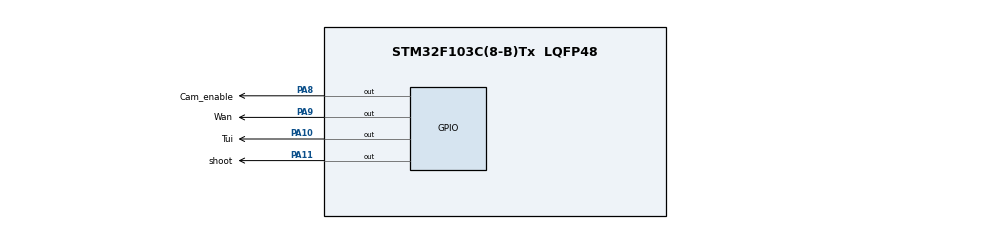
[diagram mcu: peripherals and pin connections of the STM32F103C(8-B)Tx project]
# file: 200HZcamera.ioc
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Mcu.Family=STM32F1
Mcu.Name=STM32F103C(8-B)Tx
Mcu.Package=LQFP48
NVIC.PriorityGroup=NVIC_PRIORITYGROUP_4
PA10.GPIO_Label=Tui
PA10.Signal=GPIO_Output
PA11.GPIO_Label=shoot
PA11.Signal=GPIO_Output
PA8.GPIO_Label=Cam_enable
PA8.Signal=GPIO_Output
PA9.GPIO_Label=Wan
PA9.Signal=GPIO_Output
ProjectManager.HeapSize=0x200
ProjectManager.StackSize=0x400
ProjectManager.TargetToolchain=Makefile
RCC.APB1Freq_Value=8000000
RCC.APB2Freq_Value=8000000
VP_SYS_VS_ND.Mode=No_Debug
board=custom

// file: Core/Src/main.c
/* USER CODE BEGIN Header */
/**
 ******************************************************************************
 * @file           : main.c
 * @brief          : Main program body
 ******************************************************************************
 * @attention
 *
 * Copyright (c) 2025 STMicroelectronics.
 * All rights reserved.
 *
 * This software is licensed under terms that can be found in the LICENSE file
 * in the root directory of this software component.
 * If no LICENSE file comes with this software, it is provided AS-IS.
 *
 ******************************************************************************
 */
/* USER CODE END Header */
#include "main.h"

void SystemClock_Config(void);
static void MX_GPIO_Init(void);

int main(void) {

  /* MCU Configuration--------------------------------------------------------*/

  /* Reset of all peripherals, Initializes the Flash interface and the Systick.
   */
  HAL_Init();

  /* Configure the system clock */
  SystemClock_Config();

  /* Initialize all configured peripherals */
  MX_GPIO_Init();
  /* USER CODE BEGIN 2 */
  // Enable DWT Cycle Counter for precise microsecond delay
  CoreDebug->DEMCR |= CoreDebug_DEMCR_TRCENA_Msk;
  DWT->CYCCNT = 0;
  DWT->CTRL |= DWT_CTRL_CYCCNTENA_Msk;
  /* USER CODE END 2 */

  /* Infinite loop */
  /* USER CODE BEGIN WHILE */
  uint32_t ticks_per_us = HAL_RCC_GetHCLKFreq() / 1000000;
  uint32_t cycle_start_tick = DWT->CYCCNT;

  // Ensure Cam_enable is set
  HAL_GPIO_WritePin(Cam_enable_GPIO_Port, Cam_enable_Pin, GPIO_PIN_SET);

  while (1) {
    uint32_t current_tick = DWT->CYCCNT;
    uint32_t elapsed_ticks = current_tick - cycle_start_tick;
    uint32_t elapsed_us = elapsed_ticks / ticks_per_us;

    // 1 second cycle (1,000,000 us)
    if (elapsed_us >= 1000000) {
      cycle_start_tick = current_tick;
      elapsed_us = 0;
      elapsed_ticks = 0; // Reset for safety
    }

    // --- Task 1: Push-Pull (Wan/Tui) ---
    // Active for first 200ms (200,000 us)
    if (elapsed_us < 200000) {
      // 1000Hz signal -> 1000us period
      uint32_t sub_cycle_us = elapsed_us % 1000;

      // Dead time 10us, Active 490us, Dead time 10us, Active 490us
      if (sub_cycle_us < 10) {
        // Dead time 1 (0-10us)
        HAL_GPIO_WritePin(Wan_GPIO_Port, Wan_Pin, GPIO_PIN_RESET);
        HAL_GPIO_WritePin(Tui_GPIO_Port, Tui_Pin, GPIO_PIN_RESET);
      } else if (sub_cycle_us < 500) {
        // State 1: Wan High (10-500us)
        HAL_GPIO_WritePin(Wan_GPIO_Port, Wan_Pin, GPIO_PIN_SET);
        HAL_GPIO_WritePin(Tui_GPIO_Port, Tui_Pin, GPIO_PIN_RESET);
      } else if (sub_cycle_us < 510) {
        // Dead time 2 (500-510us)
        HAL_GPIO_WritePin(Wan_GPIO_Port, Wan_Pin, GPIO_PIN_RESET);
        HAL_GPIO_WritePin(Tui_GPIO_Port, Tui_Pin, GPIO_PIN_RESET);
      } else {
        // State 2: Tui High (510-1000us)
        HAL_GPIO_WritePin(Wan_GPIO_Port, Wan_Pin, GPIO_PIN_RESET);
        HAL_GPIO_WritePin(Tui_GPIO_Port, Tui_Pin, GPIO_PIN_SET);
      }
    } else {
      // Inactive period (200ms - 1000ms)
      HAL_GPIO_WritePin(Wan_GPIO_Port, Wan_Pin, GPIO_PIN_RESET);
      HAL_GPIO_WritePin(Tui_GPIO_Port, Tui_Pin, GPIO_PIN_RESET);
    }

    // --- Task 2: Camera Shoot ---
    // Trigger at 50ms (50,000 us) for 5ms (5,000 us)
    if (elapsed_us >= 50000 && elapsed_us < 55000) {
      HAL_GPIO_WritePin(shoot_GPIO_Port, shoot_Pin, GPIO_PIN_SET);
    } else {
      HAL_GPIO_WritePin(shoot_GPIO_Port, shoot_Pin, GPIO_PIN_RESET);
    }
  }
  /* USER CODE END WHILE */

}

void SystemClock_Config(void) {
  RCC_OscInitTypeDef RCC_OscInitStruct = {0};
  RCC_ClkInitTypeDef RCC_ClkInitStruct = {0};

  /** Initializes the RCC Oscillators according to the specified parameters
   * in the RCC_OscInitTypeDef structure.
   */
  RCC_OscInitStruct.OscillatorType = RCC_OSCILLATORTYPE_HSI;
  RCC_OscInitStruct.HSIState = RCC_HSI_ON;
  RCC_OscInitStruct.HSICalibrationValue = RCC_HSICALIBRATION_DEFAULT;
  RCC_OscInitStruct.PLL.PLLState = RCC_PLL_NONE;
  if (HAL_RCC_OscConfig(&RCC_OscInitStruct) != HAL_OK) {
    Error_Handler();
  }

  /** Initializes the CPU, AHB and APB buses clocks
   */
  RCC_ClkInitStruct.ClockType = RCC_CLOCKTYPE_HCLK | RCC_CLOCKTYPE_SYSCLK |
                                RCC_CLOCKTYPE_PCLK1 | RCC_CLOCKTYPE_PCLK2;
  RCC_ClkInitStruct.SYSCLKSource = RCC_SYSCLKSOURCE_HSI;
  RCC_ClkInitStruct.AHBCLKDivider = RCC_SYSCLK_DIV1;
  RCC_ClkInitStruct.APB1CLKDivider = RCC_HCLK_DIV1;
  RCC_ClkInitStruct.APB2CLKDivider = RCC_HCLK_DIV1;

  if (HAL_RCC_ClockConfig(&RCC_ClkInitStruct, FLASH_LATENCY_0) != HAL_OK) {
    Error_Handler();
  }
}

static void MX_GPIO_Init(void) {
  GPIO_InitTypeDef GPIO_InitStruct = {0};

  /* GPIO Ports Clock Enable */
  __HAL_RCC_GPIOA_CLK_ENABLE();

  /*Configure GPIO pin Output Level */
  HAL_GPIO_WritePin(GPIOA, Cam_enable_Pin | Wan_Pin | Tui_Pin | shoot_Pin,
                    GPIO_PIN_RESET);

  /*Configure GPIO pins : Cam_enable_Pin Wan_Pin Tui_Pin shoot_Pin */
  GPIO_InitStruct.Pin = Cam_enable_Pin | Wan_Pin | Tui_Pin | shoot_Pin;
  GPIO_InitStruct.Mode = GPIO_MODE_OUTPUT_PP;
  GPIO_InitStruct.Pull = GPIO_NOPULL;
  GPIO_InitStruct.Speed = GPIO_SPEED_FREQ_LOW;
  HAL_GPIO_Init(GPIOA, &GPIO_InitStruct);

}

void Error_Handler(void) {
  __disable_irq();
  while (1) {
  }
}
#ifdef USE_FULL_ASSERT
/**
 * @brief  Reports the name of the source file and the source line number
 *         where the assert_param error has occurred.
 * @param  file: pointer to the source file name
 * @param  line: assert_param error line source number
 * @retval None
 */
void assert_failed(uint8_t *file, uint32_t line) {
  /* USER CODE BEGIN 6 */
  /* User can add his own implementation to report the file name and line
     number, ex: printf("Wrong parameters value: file %s on line %d\r\n", file,
     line) */
  /* USER CODE END 6 */
}
#endif /* USE_FULL_ASSERT */
